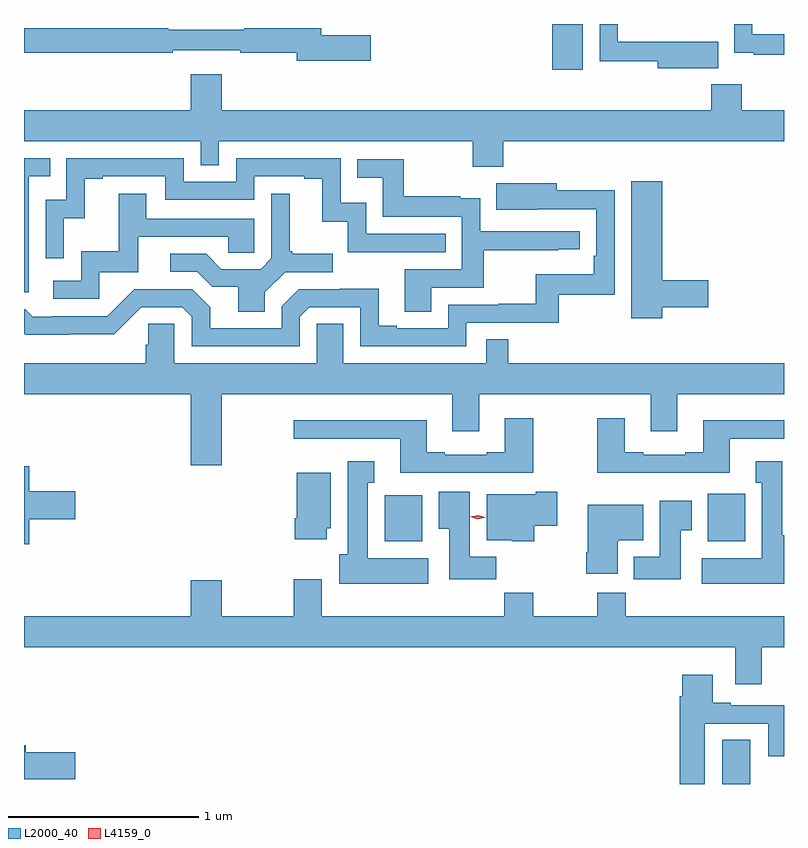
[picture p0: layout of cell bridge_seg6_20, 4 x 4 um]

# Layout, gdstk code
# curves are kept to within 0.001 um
import gdstk
lib = gdstk.Library(unit=1e-6, precision=1e-09)
def R(c, l, rs):  # rectangles x0, y0, x1, y1
    for r in rs: c.add(gdstk.rectangle(r[:2], r[2:], *l))
def P(c, l, *ps):  # polygons
    for p in ps: c.add(gdstk.Polygon(p, *l))
L2000_40 = (2000, 40)
L4159_0 = (4159, 0)

bridge_seg6_20 = lib.new_cell('bridge_seg6_20')
R(bridge_seg6_20, L2000_40, [(947.024,927.969,947.173,928.202), (945.248,929.246,945.445,929.488), (946.949,929.246,947.145,929.497), (946.13,931.728,946.291,931.969)])
P(bridge_seg6_20, L2000_40, [(947.35,931.914),(947.184,931.914),(947.184,931.969),(947.088,931.969),(947.088,931.817),(947.191,931.817),(947.191,931.806),(947.35,931.806)],
  [(947.003,931.876),(946.789,931.876),(946.789,931.875),(946.476,931.875),(946.476,931.969),(946.38,931.969),(946.38,931.774),(946.685,931.774),(946.685,931.736),(947.003,931.736)],
  [(945.175,931.91),(944.914,931.91),(944.914,931.946),(944.51,931.946),(944.51,931.939),(944.11,931.939),(944.11,931.946),(943.35,931.946),(943.35,931.818),(944.132,931.818),(944.132,931.83),(944.488,931.83),(944.488,931.818),(944.786,931.818),(944.786,931.775),(945.175,931.775)],
  [(945.872,931.352),(947.35,931.352),(947.35,931.516),(947.127,931.516),(947.127,931.651),(946.967,931.651),(946.967,931.516),(944.392,931.516),(944.392,931.705),(944.228,931.705),(944.228,931.516),(943.35,931.516),(943.35,931.352),(944.28,931.352),(944.28,931.225),(944.376,931.225),(944.376,931.352),(945.712,931.352),(945.712,931.217),(945.872,931.217)],
  [(943.56,930.947),(943.67,930.947),(943.67,931.155),(943.765,931.155),(943.765,931.167),(944.094,931.167),(944.094,931.044),(944.562,931.044),(944.562,931.167),(944.825,931.167),(944.825,931.155),(944.921,931.155),(944.921,930.929),(945.054,930.929),(945.054,930.768),(945.569,930.768),(945.569,930.864),(945.15,930.864),(945.15,931.027),(945.018,931.027),(945.018,931.263),(944.466,931.263),(944.466,931.14),(944.19,931.14),(944.19,931.263),(943.572,931.263),(943.572,931.044),(943.464,931.044),(943.464,930.735),(943.56,930.735)],
  [(943.374,931.167),(943.487,931.167),(943.487,931.263),(943.35,931.263),(943.35,930.558),(943.374,930.558)],
  [(945.493,930.582),(945.77,930.582),(945.77,930.778),(946.163,930.778),(946.163,930.783),(946.276,930.783),(946.276,930.879),(945.75,930.879),(945.75,931.051),(945.647,931.051),(945.647,931.063),(945.349,931.063),(945.349,931.257),(945.103,931.257),(945.103,931.16),(945.238,931.16),(945.238,930.954),(945.654,930.954),(945.654,930.678),(945.353,930.678),(945.353,930.454),(945.493,930.454)],
  [(946.708,930.478),(946.951,930.478),(946.951,930.62),(946.708,930.62),(946.708,931.141),(946.547,931.141),(946.547,930.42),(946.708,930.42)],
  [(944.802,930.429),(944.85,930.477),(945.12,930.477),(945.12,930.273),(945.678,930.273),(945.678,930.396),(946.165,930.396),(946.165,930.543),(946.458,930.543),(946.458,931.094),(946.153,931.094),(946.153,931.132),(945.835,931.132),(945.835,930.992),(946.362,930.993),(946.362,930.748),(946.349,930.748),(946.349,930.652),(946.044,930.652),(946.044,930.497),(945.847,930.497),(945.847,930.492),(945.582,930.492),(945.582,930.369),(945.313,930.369),(945.313,930.382),(945.217,930.382),(945.217,930.575),(945.012,930.575),(945.012,930.573),(944.796,930.573),(944.706,930.483),(944.706,930.369),(944.329,930.369),(944.329,930.479),(944.235,930.573),(943.929,930.573),(943.788,930.432),(943.495,930.432),(943.495,930.429),(943.396,930.429),(943.357,930.468),(943.35,930.468),(943.35,930.34),(943.357,930.333),(943.59,930.333),(943.59,930.335),(943.826,930.335),(943.968,930.477),(944.184,930.477),(944.232,930.429),(944.232,930.273),(944.802,930.273)],
  [(944.617,930.556),(944.724,930.663),(944.974,930.663),(944.974,930.76),(944.761,930.76),(944.761,930.772),(944.749,930.772),(944.749,931.075),(944.652,931.075),(944.652,930.735),(944.595,930.678),(944.389,930.678),(944.308,930.759),(944.121,930.759),(944.121,930.666),(944.262,930.666),(944.342,930.586),(944.477,930.586),(944.477,930.454),(944.617,930.454)],
  [(943.746,930.663),(943.951,930.663),(943.951,930.849),(944.425,930.849),(944.425,930.765),(944.562,930.765),(944.562,930.945),(943.993,930.945),(943.993,931.075),(943.849,931.075),(943.849,930.772),(943.65,930.772),(943.65,930.618),(943.503,930.618),(943.503,930.522),(943.746,930.522)],
  [(944.392,930.02),(945.605,930.02),(945.605,929.826),(945.745,929.826),(945.745,930.02),(946.649,930.02),(946.649,929.826),(946.789,929.826),(946.789,930.02),(947.35,930.02),(947.35,930.184),(945.899,930.184),(945.899,930.311),(945.783,930.311),(945.783,930.184),(945.031,930.184),(945.031,930.392),(944.892,930.392),(944.892,930.184),(944.142,930.184),(944.142,930.392),(944.005,930.392),(944.005,930.282),(943.991,930.282),(943.991,930.184),(943.35,930.184),(943.35,930.02),(944.228,930.02),(944.228,929.646),(944.392,929.646)],
  [(946.029,929.893),(945.881,929.893),(945.881,929.716),(945.785,929.716),(945.785,929.703),(945.565,929.703),(945.565,929.716),(945.469,929.716),(945.469,929.884),(944.769,929.884),(944.769,929.787),(945.329,929.787),(945.329,929.607),(946.029,929.607)],
  [(947.065,929.787),(947.35,929.787),(947.35,929.884),(946.925,929.884),(946.925,929.716),(946.829,929.716),(946.829,929.703),(946.609,929.703),(946.609,929.716),(946.513,929.716),(946.513,929.893),(946.366,929.893),(946.366,929.606),(947.065,929.606)],
  [(947.35,929.278),(947.341,929.278),(947.341,929.668),(947.201,929.668),(947.201,929.555),(947.234,929.555),(947.234,929.158),(946.917,929.158),(946.917,929.024),(947.35,929.024)],
  [(945.478,929.158),(945.16,929.158),(945.16,929.555),(945.193,929.555),(945.193,929.668),(945.053,929.668),(945.053,929.178),(945.008,929.178),(945.008,929.024),(945.478,929.024)],
  [(943.378,929.363),(943.621,929.363),(943.621,929.51),(943.378,929.51),(943.378,929.641),(943.35,929.641),(943.35,929.231),(943.378,929.231)],
  [(944.944,929.316),(944.965,929.316),(944.965,929.608),(944.786,929.608),(944.786,929.368),(944.774,929.368),(944.774,929.256),(944.944,929.256)],
  [(946.036,929.329),(946.156,929.329),(946.156,929.507),(946.043,929.507),(946.043,929.494),(945.785,929.494),(945.785,929.252),(945.918,929.252),(945.918,929.246),(946.036,929.246)],
  [(945.836,929.164),(945.697,929.164),(945.697,929.506),(945.533,929.506),(945.533,929.312),(945.587,929.312),(945.587,929.046),(945.836,929.046)],
  [(946.807,929.305),(946.864,929.305),(946.864,929.461),(946.697,929.461),(946.697,929.164),(946.559,929.164),(946.559,929.046),(946.807,929.046)],
  [(946.474,929.246),(946.48,929.246),(946.48,929.252),(946.609,929.252),(946.609,929.44),(946.316,929.44),(946.316,929.188),(946.309,929.188),(946.309,929.076),(946.474,929.076)],
  [(947.233,928.688),(947.35,928.688),(947.35,928.852),(946.517,928.852),(946.517,928.976),(946.366,928.976),(946.366,928.852),(946.029,928.852),(946.029,928.976),(945.877,928.976),(945.877,928.852),(944.917,928.852),(944.917,929.047),(944.77,929.047),(944.77,928.852),(944.392,928.852),(944.392,929.041),(944.228,929.041),(944.228,928.852),(943.35,928.852),(943.35,928.688),(947.093,928.688),(947.093,928.494),(947.233,928.494)],
  [(946.933,928.287),(947.267,928.287),(947.267,928.116),(947.35,928.116),(947.35,928.383),(947.071,928.383),(947.071,928.396),(946.975,928.396),(946.975,928.543),(946.814,928.543),(946.814,928.43),(946.802,928.43),(946.802,927.969),(946.933,927.969)],
  [(943.621,928.136),(943.36,928.136),(943.36,928.172),(943.35,928.172),(943.35,927.994),(943.621,927.994)])
P(bridge_seg6_20, L4159_0, [(945.739,929.363),(945.699,929.375),(945.699,929.375),(945.699,929.375),(945.74,929.383),(945.78,929.372),(945.78,929.372),(945.78,929.372)])

lib.write_gds('bridge_seg6_20.gds')
